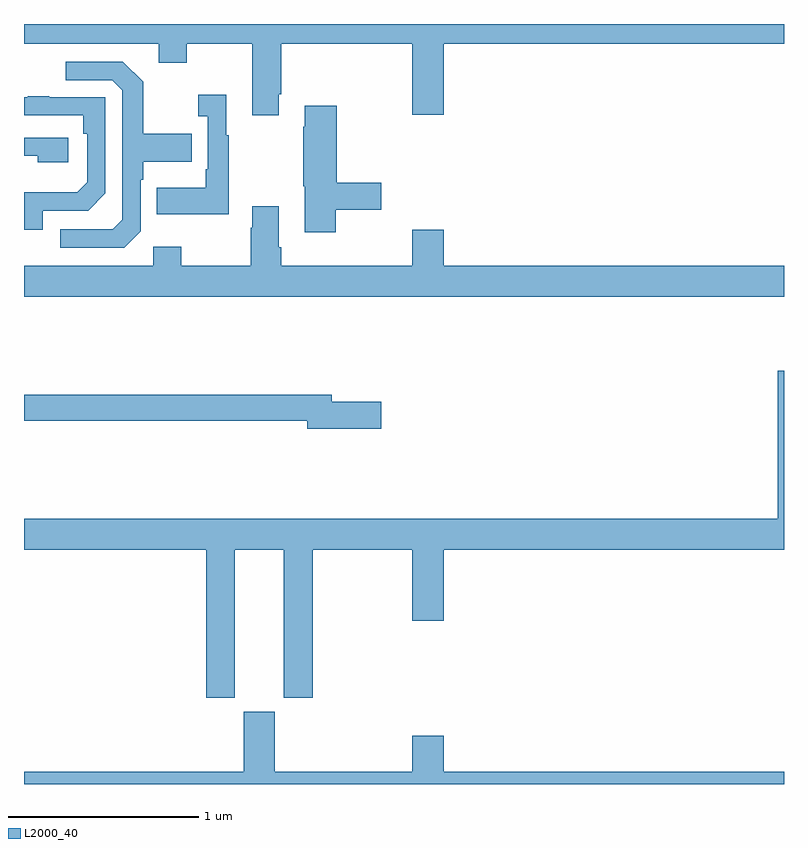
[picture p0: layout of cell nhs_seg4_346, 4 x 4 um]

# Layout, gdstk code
import gdstk
lib = gdstk.Library(unit=1e-6, precision=1e-09)
def P(c, l, *ps):  # polygons
    for p in ps: c.add(gdstk.Polygon(p, *l))
L2000_40 = (2000, 40)

nhs_seg4_346 = lib.new_cell('nhs_seg4_346')
P(nhs_seg4_346, L2000_40, [(128.341,820.531),(128.354,820.531),(128.354,820.796),(129.044,820.796),(129.044,820.422),(129.208,820.422),(129.208,820.796),(131,820.796),(131,820.9),(127,820.9),(127,820.796),(127.709,820.796),(127.709,820.697),(127.857,820.697),(127.857,820.796),(128.201,820.796),(128.201,820.419),(128.341,820.419)],
  [(127.614,819.81),(127.614,820.079),(127.627,820.079),(127.627,820.175),(127.883,820.175),(127.883,820.323),(127.627,820.323),(127.627,820.595),(127.521,820.701),(127.221,820.701),(127.221,820.605),(127.464,820.605),(127.518,820.551),(127.518,819.87),(127.467,819.819),(127.191,819.819),(127.191,819.723),(127.527,819.723)],
  [(128.077,820.315),(128.065,820.315),(128.065,820.528),(127.917,820.528),(127.917,820.415),(127.968,820.415),(127.968,820.135),(127.956,820.135),(127.956,820.039),(127.699,820.039),(127.699,819.899),(128.077,819.899)],
  [(127.098,819.918),(127.338,819.918),(127.428,820.008),(127.428,820.515),(127.133,820.515),(127.133,820.52),(127.021,820.52),(127.021,820.515),(127,820.515),(127,820.419),(127.312,820.419),(127.312,820.322),(127.332,820.322),(127.332,820.068),(127.279,820.015),(127.002,820.015),(127.002,819.912),(127,819.912),(127,819.816),(127.098,819.816)],
  [(128.64,819.922),(128.881,819.922),(128.881,820.064),(128.645,820.064),(128.645,820.471),(128.477,820.471),(128.477,820.358),(128.47,820.358),(128.47,820.047),(128.477,820.047),(128.477,819.804),(128.64,819.804)],
  [(127.234,820.302),(127,820.302),(127,820.206),(127.073,820.206),(127.073,820.172),(127.234,820.172)],
  [(131,819.628),(129.208,819.628),(129.208,819.817),(129.044,819.817),(129.044,819.628),(128.354,819.628),(128.354,819.724),(128.341,819.724),(128.341,819.94),(128.201,819.94),(128.201,819.827),(128.194,819.827),(128.194,819.628),(127.827,819.628),(127.827,819.727),(127.68,819.727),(127.68,819.628),(127,819.628),(127,819.464),(131,819.464)],
  [(128.11,818.132),(128.366,818.132),(128.366,817.353),(128.519,817.353),(128.519,818.132),(129.044,818.132),(129.044,817.758),(129.208,817.758),(129.208,818.132),(131,818.132),(131,819.076),(130.967,819.076),(130.967,818.296),(127,818.296),(127,818.132),(127.958,818.132),(127.958,817.353),(128.11,817.353)],
  [(128.881,818.912),(128.62,818.912),(128.62,818.948),(127,818.948),(127,818.812),(128.492,818.812),(128.492,818.77),(128.881,818.77)],
  [(131,816.964),(129.208,816.964),(129.208,817.153),(129.044,817.153),(129.044,816.964),(128.32,816.964),(128.32,817.281),(128.156,817.281),(128.156,816.964),(127,816.964),(127,816.9),(131,816.9)])

lib.write_gds('nhs_seg4_346.gds')
